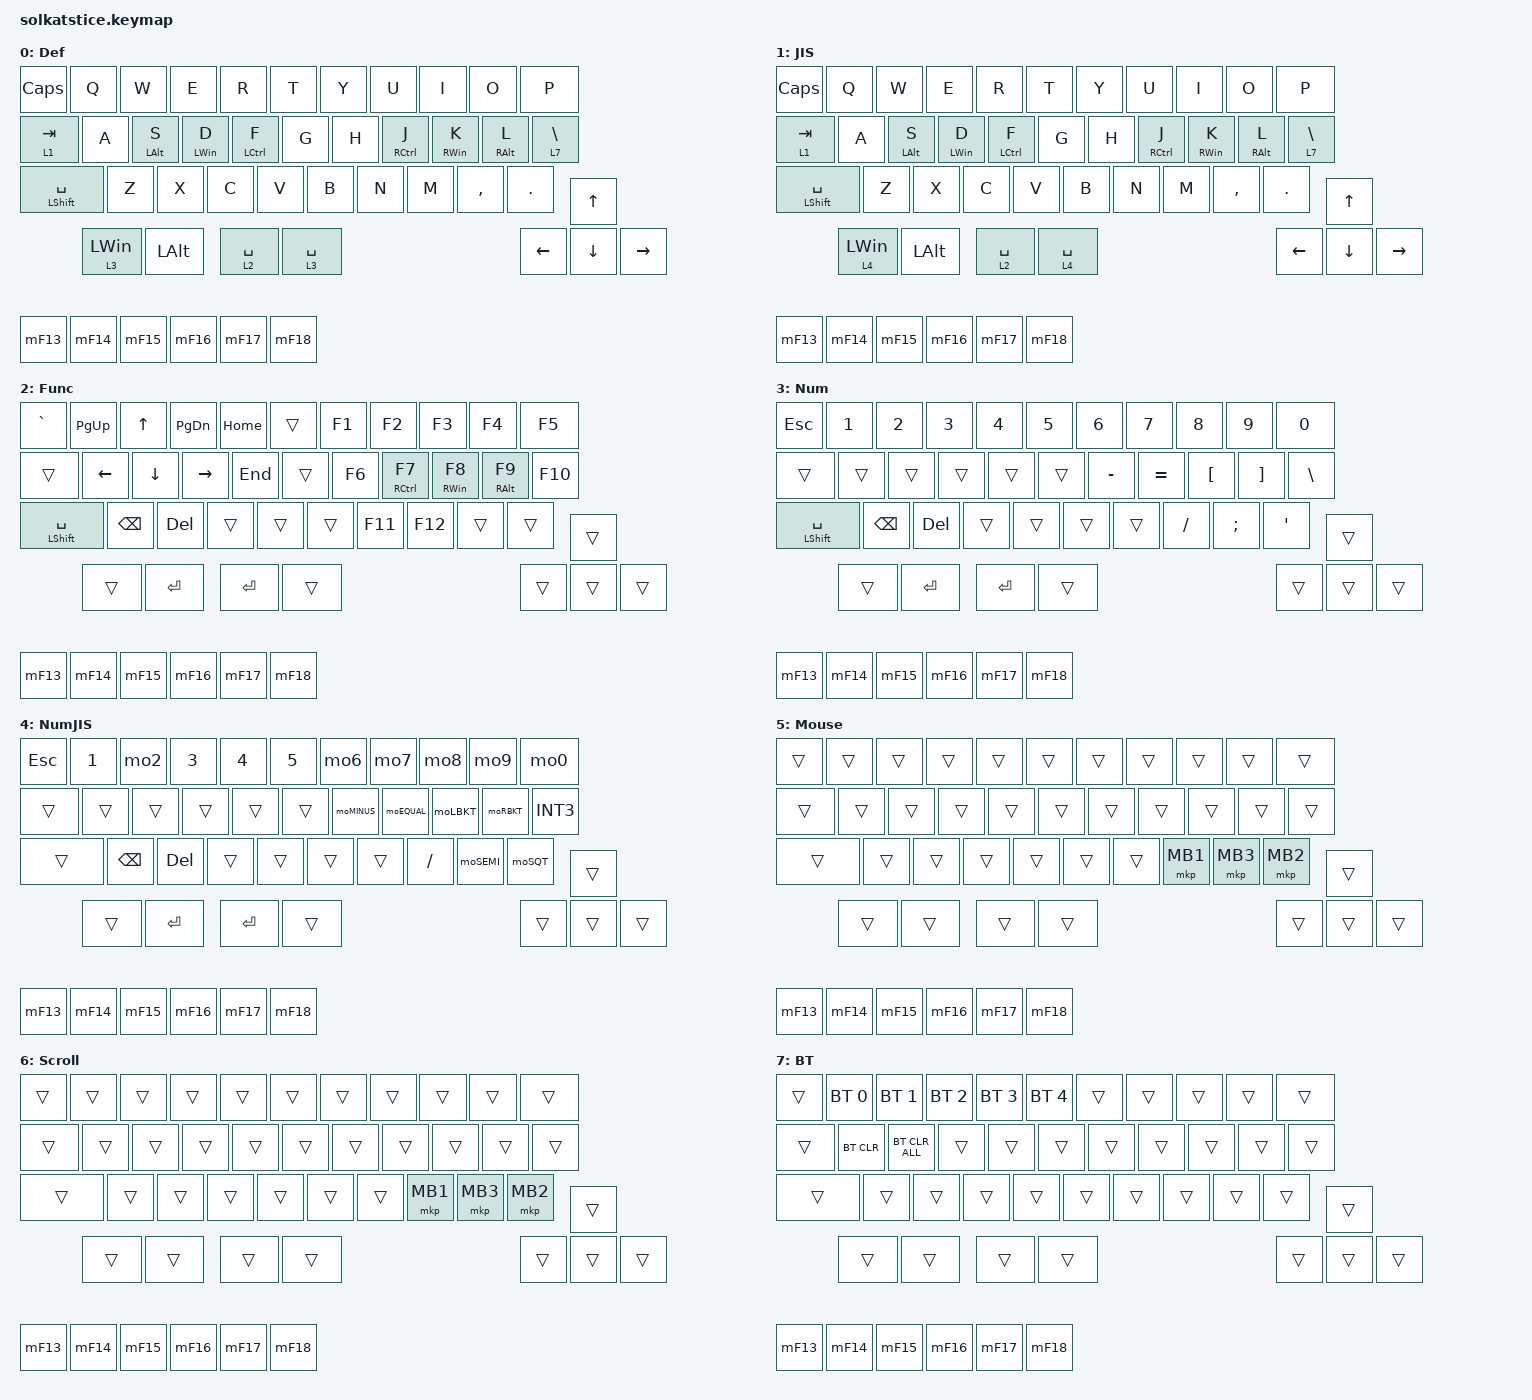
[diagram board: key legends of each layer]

#include <behaviors.dtsi>
#include <dt-bindings/zmk/keys.h>
#include <dt-bindings/zmk/pointing.h>
#include <dt-bindings/zmk/bt.h>
#include <dt-bindings/zmk/outputs.h>
#include <physical_layouts.dtsi>

#define DEF 0
#define JIS 1
#define FUNC 2
#define NUM 3
#define NUMJ 4
#define MOUSE 5
#define SCROLL 6
#define BT 7

&mt {
    flavor = "balanced";
    tapping-term-ms = <280>;
    quick-tap-ms = <175>;
    require-prior-idle-ms = <150>;
};

/ {
  chosen {
    zmk,physical-layout = &solkatstice_physical_layout;
  };

  solkatstice_physical_layout: solkatstice_physical_layout {
      compatible = "zmk,physical-layout";
      display-name = "Default";
      transform = <&default_transform>;
      kscan = <&kscan0>;
      keys  //                     w   h    x    y     rot    rx    ry
          = <&key_physical_attrs 100 100    0    0       0     0     0>
          , <&key_physical_attrs 100 100  100    0       0     0     0>
          , <&key_physical_attrs 100 100  200    0       0     0     0>
          , <&key_physical_attrs 100 100  300    0       0     0     0>
          , <&key_physical_attrs 100 100  400    0       0     0     0>
          , <&key_physical_attrs 100 100  500    0       0     0     0>
          , <&key_physical_attrs 100 100  600    0       0     0     0>
          , <&key_physical_attrs 100 100  700    0       0     0     0>
          , <&key_physical_attrs 100 100  800    0       0     0     0>
          , <&key_physical_attrs 100 100  900    0       0     0     0>
          , <&key_physical_attrs 125 100 1000    0       0     0     0>
          , <&key_physical_attrs 125 100    0  100       0     0     0>
          , <&key_physical_attrs 100 100  125  100       0     0     0>
          , <&key_physical_attrs 100 100  225  100       0     0     0>
          , <&key_physical_attrs 100 100  325  100       0     0     0>
          , <&key_physical_attrs 100 100  425  100       0     0     0>
          , <&key_physical_attrs 100 100  525  100       0     0     0>
          , <&key_physical_attrs 100 100  625  100       0     0     0>
          , <&key_physical_attrs 100 100  725  100       0     0     0>
          , <&key_physical_attrs 100 100  825  100       0     0     0>
          , <&key_physical_attrs 100 100  925  100       0     0     0>
          , <&key_physical_attrs 100 100 1025  100       0     0     0>
          , <&key_physical_attrs 175 100    0  200       0     0     0>
          , <&key_physical_attrs 100 100  175  200       0     0     0>
          , <&key_physical_attrs 100 100  275  200       0     0     0>
          , <&key_physical_attrs 100 100  375  200       0     0     0>
          , <&key_physical_attrs 100 100  475  200       0     0     0>
          , <&key_physical_attrs 100 100  575  200       0     0     0>
          , <&key_physical_attrs 100 100  675  200       0     0     0>
          , <&key_physical_attrs 100 100  775  200       0     0     0>
          , <&key_physical_attrs 100 100  875  200       0     0     0>
          , <&key_physical_attrs 100 100  975  200       0     0     0>
          , <&key_physical_attrs 100 100 1100  225       0     0     0>
          , <&key_physical_attrs 125 100  125  325       0     0     0>
          , <&key_physical_attrs 125 100  250  325       0     0     0>
          , <&key_physical_attrs 125 100  400  325       0     0     0>
          , <&key_physical_attrs 125 100  525  325       0     0     0>
          , <&key_physical_attrs 100 100 1000  325       0     0     0>
          , <&key_physical_attrs 100 100 1100  325       0     0     0>
          , <&key_physical_attrs 100 100 1200  325       0     0     0>

          , <&key_physical_attrs 100 100 0     500       0     0     0>
          , <&key_physical_attrs 100 100 100   500       0     0     0>
          , <&key_physical_attrs 100 100 200   500       0     0     0>
          , <&key_physical_attrs 100 100 300   500       0     0     0>
          , <&key_physical_attrs 100 100 400   500       0     0     0>
          , <&key_physical_attrs 100 100 500   500       0     0     0>
          ;
    };

    macros {
        leader1: leader1 {
            compatible = "zmk,behavior-leader-key";
            #binding-cells = <0>;
            leftdown { sequence = <F14 F15>; bindings = <&kp PG_DN>; };
            out { sequence = <O U T>; bindings = <&out OUT_TOG>; };
        };
        leader2: leader2 {
            compatible = "zmk,behavior-leader-key";
            #binding-cells = <0>;
            leftup   { sequence = <F14 F13>; bindings = <&kp PG_UP>; };
        };
        leader3: leader3 {
            compatible = "zmk,behavior-leader-key";
            #binding-cells = <0>;
            rightdown { sequence = <F17 F18>; bindings = <&kp END>; };
        };
        leader4: leader4 {
            compatible = "zmk,behavior-leader-key";
            #binding-cells = <0>;
            rightup   { sequence = <F17 F16>; bindings = <&kp HOME>; };
        };
        mLCTL: mLCTL {
            compatible = "zmk,behavior-macro";
            #binding-cells = <0>;
            bindings = <&macro_tap &kp LCTRL>;
        };
        mF13: mF13 {
            compatible = "zmk,behavior-macro";
            #binding-cells = <0>;
            bindings = <&macro_tap &kp F13>
                     , <&leader1>;
        };
        mF14: mF14 {
            compatible = "zmk,behavior-macro";
            #binding-cells = <0>;
            bindings = <&macro_tap &kp F14>;
        };
        mF15: mF15 {
            compatible = "zmk,behavior-macro";
            #binding-cells = <0>;
            bindings = <&macro_tap &kp F15>
                     , <&leader2>;
        };
        mF16: mF16 {
            compatible = "zmk,behavior-macro";
            #binding-cells = <0>;
            bindings = <&macro_tap &kp F16>
                    , <&leader3>;
        };
        mF17: mF17 {
            compatible = "zmk,behavior-macro";
            #binding-cells = <0>;
            bindings = <&macro_tap &kp F17>;
        };
        mF18: mF18 {
            compatible = "zmk,behavior-macro";
            #binding-cells = <0>;
            bindings = <&macro_tap &kp F18>
                    , <&leader4>;
        };
        mESC: mESC {
            compatible = "zmk,behavior-macro";
            #binding-cells = <0>;
            bindings = <&macro_tap &kp ESC>;
        };
    };

    behaviors {
        toJIS: toJIS {
            compatible = "zmk,behavior-hold-tap";
            label = "toJIS";
            #binding-cells = <2>;
            tapping-term-ms = <200>;
            quick-tap-ms = <0>;
            bindings = <&tog>, <&kp>;
        };
        mo2: mo2 {
            compatible = "zmk,behavior-mod-morph";
            #binding-cells = <0>;
            bindings = <&kp N2>, <&kp LBKT>;
            mods = <(MOD_LSFT|MOD_RSFT)>;
        };
        mo6: mo6 {
            compatible = "zmk,behavior-mod-morph";
            #binding-cells = <0>;
            bindings = <&kp N6>, <&kp EQUAL>;
            mods = <(MOD_LSFT|MOD_RSFT)>;
        };
        mo7: mo7 {
            compatible = "zmk,behavior-mod-morph";
            #binding-cells = <0>;
            bindings = <&kp N7>, <&kp LS(N6)>;
            mods = <(MOD_LSFT|MOD_RSFT)>;
        };
        mo8: mo8 {
            compatible = "zmk,behavior-mod-morph";
            #binding-cells = <0>;
            bindings = <&kp N8>, <&kp LS(SQT)>;
            mods = <(MOD_LSFT|MOD_RSFT)>;
        };
        mo9: mo9 {
            compatible = "zmk,behavior-mod-morph";
            #binding-cells = <0>;
            bindings = <&kp N9>, <&kp LS(N8)>;
            mods = <(MOD_LSFT|MOD_RSFT)>;
        };
        mo0: mo0 {
            compatible = "zmk,behavior-mod-morph";
            #binding-cells = <0>;
            bindings = <&kp N0>, <&kp LS(N9)>;
            mods = <(MOD_LSFT|MOD_RSFT)>;
        };
        moMINUS: moMINUS {
            compatible = "zmk,behavior-mod-morph";
            #binding-cells = <0>;
            bindings = <&kp MINUS>, <&kp LS(INT_RO)>;
            mods = <(MOD_LSFT|MOD_RSFT)>;
        };
        moEQUAL: moEQUAL {
            compatible = "zmk,behavior-mod-morph";
            #binding-cells = <0>;
            bindings = <&kp LS(MINUS)>, <&kp COLON>;
            mods = <(MOD_LSFT|MOD_RSFT)>;
        };
        moLBKT: moLBKT {
            compatible = "zmk,behavior-mod-morph";
            #binding-cells = <0>;
            bindings = <&kp RBKT>, <&kp LS(RBRC)>;
            mods = <(MOD_LSFT|MOD_RSFT)>;
        };
        moRBKT: moRBKT {
            compatible = "zmk,behavior-mod-morph";
            #binding-cells = <0>;
            bindings = <&kp BSLH>, <&kp LS(BSLH)>;
            mods = <(MOD_LSFT|MOD_RSFT)>;
        };
        moSEMI: moSEMI {
            compatible = "zmk,behavior-mod-morph";
            #binding-cells = <0>;
            bindings = <&kp SEMI>, <&kp SQT>;
            mods = <(MOD_LSFT|MOD_RSFT)>;
        };
        moSQT: moSQT {
            compatible = "zmk,behavior-mod-morph";
            #binding-cells = <0>;
            bindings = <&kp LS(N7)>, <&kp LS(N2)>;
            mods = <(MOD_LSFT|MOD_RSFT)>;
        };
        moGRAVE: moGRAVE {
            compatible = "zmk,behavior-mod-morph";
            #binding-cells = <0>;
            bindings = <&kp LS(LBRC)>, <&kp LS(EQUAL)>;
            mods = <(MOD_LSFT|MOD_RSFT)>;
        };
    }; 

    keymap {
        compatible = "zmk,keymap";

        default_layer {
            label="Def";
            bindings = <
&kp CAPS         &kp Q            &kp W            &kp E            &kp R            &kp T            &kp Y            &kp U            &kp I            &kp O             &kp P  
&toJIS 1 TAB     &kp A            &mt LEFT_ALT S   &mt LEFT_WIN D   &mt LCTRL F      &kp G            &kp H            &mt RCTRL J      &mt RIGHT_WIN K  &mt RIGHT_ALT L   &lt 7 BSLH
&mt LSHFT SPACE  &kp Z            &kp X            &kp C            &kp V            &kp B            &kp N            &kp M            &kp COMMA        &kp DOT           &kp UP  
                 &lt 3 LWIN       &kp LALT         &lt 2 SPACE      &lt 3 SPACE                                                         &kp LEFT         &kp DOWN          &kp RIGHT
                 &mF13            &mF14            &mF15            &mF16            &mF17            &mF18
            >;
        };

        jis_layer {
            label="JIS";
            bindings = <
&kp CAPS         &kp Q            &kp W            &kp E            &kp R            &kp T            &kp Y            &kp U            &kp I            &kp O             &kp P  
&toJIS 1 TAB     &kp A            &mt LEFT_ALT S   &mt LEFT_WIN D   &mt LCTRL F      &kp G            &kp H            &mt RCTRL J      &mt RIGHT_WIN K  &mt RIGHT_ALT L   &lt 7 BSLH  
&mt LSHFT SPACE  &kp Z            &kp X            &kp C            &kp V            &kp B            &kp N            &kp M            &kp COMMA        &kp DOT           &kp UP  
                 &lt 4 LWIN       &kp LALT         &lt 2 SPACE      &lt 4 SPACE                                                         &kp LEFT         &kp DOWN          &kp RIGHT
                 &mF13            &mF14            &mF15            &mF16            &mF17            &mF18
            >;
        };

        function_layer {
            label="Func";
            bindings = <
&kp GRAVE        &kp PG_UP        &kp UP           &kp PG_DN        &kp HOME         &trans           &kp F1           &kp F2           &kp F3           &kp F4            &kp F5  
&trans           &kp LEFT         &kp DOWN         &kp RIGHT        &kp END          &trans           &kp F6           &mt RCTRL F7     &mt RIGHT_WIN F8 &mt RIGHT_ALT F9  &kp F10  
&mt LSHFT SPACE  &kp BACKSPACE    &kp DEL          &trans           &trans           &trans           &kp F11          &kp F12          &trans           &trans            &trans  
                 &trans           &kp ENTER        &kp ENTER        &trans                                                              &trans           &trans            &trans
                 &mF13            &mF14            &mF15            &mF16            &mF17            &mF18
            >;
        };

        num_layer {
            label="Num";
            bindings = <
&kp ESC           &kp N1          &kp N2           &kp N3           &kp N4           &kp N5           &kp N6           &kp N7           &kp N8           &kp N9            &kp N0  
&trans            &trans          &trans           &trans           &trans           &trans           &kp MINUS        &kp EQUAL        &kp LBKT         &kp RBKT          &kp BSLH  
&mt LSHFT SPACE   &kp BACKSPACE   &kp DEL          &trans           &trans           &trans           &trans           &kp FSLH         &kp SEMI         &kp SQT           &trans  
                  &trans          &kp ENTER        &kp ENTER        &trans                                                              &trans           &trans            &trans
                 &mF13            &mF14            &mF15            &mF16            &mF17            &mF18
            >;
        };

        numjis_layer {
            label="NumJIS";
            bindings = <
&kp ESC           &kp N1          &mo2             &kp N3           &kp N4           &kp N5           &mo6             &mo7             &mo8             &mo9              &mo0
&trans            &trans          &trans           &trans           &trans           &trans           &moMINUS         &moEQUAL         &moLBKT          &moRBKT           &kp INT3  
&trans            &kp BACKSPACE   &kp DEL          &trans           &trans           &trans           &trans           &kp FSLH         &moSEMI          &moSQT            &trans  
                  &trans          &kp ENTER        &kp ENTER        &trans                                                              &trans           &trans            &trans
                 &mF13            &mF14            &mF15            &mF16            &mF17            &mF18
            >;
        };

        mouse_layer {
            label="Mouse";
            bindings = <
&trans           &trans           &trans           &trans           &trans           &trans           &trans           &trans           &trans           &trans            &trans  
&trans           &trans           &trans           &trans           &trans           &trans           &trans           &trans           &trans           &trans            &trans  
&trans           &trans           &trans           &trans           &trans           &trans           &trans           &mkp MB1         &mkp MB3         &mkp MB2          &trans  
                 &trans           &trans           &trans           &trans                                                              &trans           &trans            &trans
                 &mF13            &mF14            &mF15            &mF16            &mF17            &mF18
            >;
        };

        scroll_layer {
            label="Scroll";
            bindings = <
&trans           &trans           &trans           &trans           &trans           &trans           &trans           &trans           &trans           &trans            &trans  
&trans           &trans           &trans           &trans           &trans           &trans           &trans           &trans           &trans           &trans            &trans  
&trans           &trans           &trans           &trans           &trans           &trans           &trans           &mkp MB1         &mkp MB3         &mkp MB2          &trans  
                 &trans           &trans           &trans           &trans                                                              &trans           &trans            &trans
                 &mF13            &mF14            &mF15            &mF16            &mF17            &mF18
            >;
        };

        bt_layer {
            label="BT";
            bindings = <
&trans           &bt BT_SEL 0     &bt BT_SEL 1     &bt BT_SEL 2     &bt BT_SEL 3     &bt BT_SEL 4     &trans           &trans           &trans           &trans           &trans  
&trans           &bt BT_CLR       &bt BT_CLR_ALL   &trans           &trans           &trans           &trans           &trans           &trans           &trans           &trans  
&trans           &trans           &trans           &trans           &trans           &trans           &trans           &trans           &trans           &trans           &trans  
                 &trans           &trans           &trans           &trans                                                              &trans           &trans           &trans
                 &mF13            &mF14            &mF15            &mF16            &mF17            &mF18
            >;
        };
    };
};
